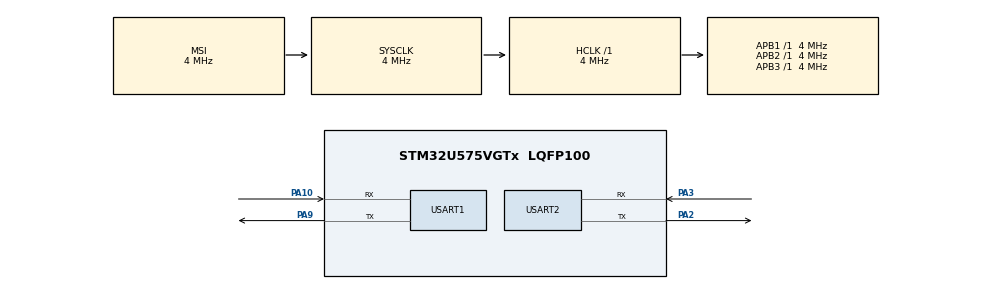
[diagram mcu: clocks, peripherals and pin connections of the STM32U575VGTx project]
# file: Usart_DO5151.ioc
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CORTEX_M33_NS.userName=CORTEX_M33
Mcu.Family=STM32U5
Mcu.Name=STM32U575VGTx
Mcu.Package=LQFP100
NVIC.PriorityGroup=NVIC_PRIORITYGROUP_4
NVIC.USART1_IRQn=true\:0\:0\:false\:false\:true\:true\:true\:true
NVIC.USART2_IRQn=true\:0\:0\:false\:false\:true\:true\:true\:true
PA10.Mode=Asynchronous
PA10.Signal=USART1_RX
PA13\ (JTMS/SWDIO).Mode=Serial_Wire
PA13\ (JTMS/SWDIO).Signal=DEBUG_JTMS-SWDIO
PA14\ (JTCK/SWCLK).Mode=Serial_Wire
PA14\ (JTCK/SWCLK).Signal=DEBUG_JTCK-SWCLK
PA2.Mode=Asynchronous
PA2.Signal=USART2_TX
PA3.Mode=Asynchronous
PA3.Signal=USART2_RX
PA9.Mode=Asynchronous
PA9.Signal=USART1_TX
ProjectManager.HeapSize=0x200
ProjectManager.StackSize=0x400
ProjectManager.TargetToolchain=MDK-ARM V5.39
RCC.ADCFreq_Value=16000000
RCC.AHBFreq_Value=4000000
RCC.APB1Freq_Value=4000000
RCC.APB1TimFreq_Value=4000000
RCC.APB2Freq_Value=4000000
RCC.APB2TimFreq_Value=4000000
RCC.APB3Freq_Value=4000000
RCC.CortexFreq_Value=4000000
RCC.EPOD_VALUE=16000000
RCC.HCLKFreq_Value=4000000
RCC.HSE_VALUE=16000000
RCC.HSI48_VALUE=48000000
RCC.HSI_VALUE=16000000
RCC.LSE_VALUE=32768
RCC.LSIDIV_VALUE=32000
RCC.MSI_VALUE=4000000
RCC.PLLSourceVirtual=RCC_PLLSOURCE_HSI
RCC.SYSCLKFreq_VALUE=4000000
RCC.USBFreq_Value=48000000
RCC.VCOOutputFreq_Value=2064000000
USART1.VirtualMode-Asynchronous=VM_ASYNC
USART2.VirtualMode-Asynchronous=VM_ASYNC
VP_LPBAMQUEUE_VS_QUEUE.Mode=QUEUEMODE
VP_LPBAM_VS_SIG1.Mode=SmartRun
VP_LPBAM_VS_SIG4.Mode=LPDMA1
VP_MEMORYMAP_VS_MEMORYMAP.Mode=CurAppReg
VP_PWR_VS_SECSignals.Mode=Security/Privilege
board=custom

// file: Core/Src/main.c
/* USER CODE BEGIN Header */
/**
  ******************************************************************************
  * @file           : main.c
  * @brief          : STM32U575VGT6 串口透传（双中断 + 环形缓冲区）
  *                   USART1 ↔ 电脑（115200）
  *                   USART2 ↔ DO5151 晶振（115200）
  * @note           : 解决轮询模式下 115200 丢字节的问题
  ******************************************************************************
  */
/* USER CODE END Header */

#include "main.h"

/* USER CODE BEGIN Includes */
#include <string.h>
/* USER CODE END Includes */

UART_HandleTypeDef huart1;
UART_HandleTypeDef huart2;

/* USER CODE BEGIN PV */

/* -------- 环形缓冲区定义 -------- */
#define RING_SIZE  256                   /* 必须是 2 的幂 */

typedef struct {
    volatile uint8_t  buf[RING_SIZE];
    volatile uint16_t head;              /* 写入位置（中断写） */
    volatile uint16_t tail;              /* 读取位置（主循环读） */
} RingBuf_t;

static RingBuf_t  rb_u1;                /* USART1 接收缓冲（电脑→单片机） */
static RingBuf_t  rb_u2;                /* USART2 接收缓冲（晶振→单片机） */

static uint8_t u1_rx_byte;              /* USART1 单字节中断接收 */
static uint8_t u2_rx_byte;              /* USART2 单字节中断接收 */

/* -------- 环形缓冲区操作 -------- */
static inline void ring_put(RingBuf_t *rb, uint8_t c)
{
    uint16_t next = (rb->head + 1) & (RING_SIZE - 1);
    if (next != rb->tail)                /* 满了就丢弃（正常不会满） */
    {
        rb->buf[rb->head] = c;
        rb->head = next;
    }
}

static inline int ring_get(RingBuf_t *rb, uint8_t *c)
{
    if (rb->head == rb->tail) return 0;  /* 空 */
    *c = rb->buf[rb->tail];
    rb->tail = (rb->tail + 1) & (RING_SIZE - 1);
    return 1;
}

/* USER CODE END PV */

void SystemClock_Config(void);
static void MX_GPIO_Init(void);
static void MX_USART1_UART_Init(void);
static void MX_USART2_UART_Init(void);

/* USER CODE BEGIN 0 */
__asm(".global __use_no_semihosting");
void _sys_exit(int x) { (void)x; }

static void U1_Send(const char *str)
{
    HAL_UART_Transmit(&huart1, (uint8_t *)str, strlen(str), HAL_MAX_DELAY);
}
/* USER CODE END 0 */

int main(void)
{
    HAL_Init();
    SystemClock_Config();
    MX_GPIO_Init();
    MX_USART1_UART_Init();
    MX_USART2_UART_Init();

    /* USER CODE BEGIN 2 */
    HAL_Delay(200);

    /* 初始化环形缓冲区 */
    rb_u1.head = rb_u1.tail = 0;
    rb_u2.head = rb_u2.tail = 0;

    /* 两个串口都用中断接收 */
    HAL_UART_Receive_IT(&huart1, &u1_rx_byte, 1);
    HAL_UART_Receive_IT(&huart2, &u2_rx_byte, 1);

    U1_Send("=== STM32 DO5151 透传就绪 ===\r\n");
    /* USER CODE END 2 */

    while (1)
    {
        /* USER CODE BEGIN 3 */
        uint8_t c;

        /* ===== 方向1：电脑 → 晶振 ===== */
        while (ring_get(&rb_u1, &c))
        {
            HAL_UART_Transmit(&huart2, &c, 1, HAL_MAX_DELAY);
        }

        /* ===== 方向2：晶振 → 电脑 ===== */
        while (ring_get(&rb_u2, &c))
        {
            HAL_UART_Transmit(&huart1, &c, 1, HAL_MAX_DELAY);
        }

        /* USER CODE END 3 */
    }
}

/* USER CODE BEGIN 4 */
void HAL_UART_RxCpltCallback(UART_HandleTypeDef *huart)
{
    if (huart->Instance == USART1)
    {
        ring_put(&rb_u1, u1_rx_byte);
        HAL_UART_Receive_IT(&huart1, &u1_rx_byte, 1);
    }
    else if (huart->Instance == USART2)
    {
        ring_put(&rb_u2, u2_rx_byte);
        HAL_UART_Receive_IT(&huart2, &u2_rx_byte, 1);
    }
}
/* USER CODE END 4 */

/* ================================================================
 *  以下是 CubeMX 生成部分，不要修改
 * ================================================================ */

void SystemClock_Config(void)
{
    RCC_OscInitTypeDef RCC_OscInitStruct = {0};
    RCC_ClkInitTypeDef RCC_ClkInitStruct = {0};

    if (HAL_PWREx_ControlVoltageScaling(PWR_REGULATOR_VOLTAGE_SCALE4) != HAL_OK)
        Error_Handler();

    RCC_OscInitStruct.OscillatorType      = RCC_OSCILLATORTYPE_MSI;
    RCC_OscInitStruct.MSIState            = RCC_MSI_ON;
    RCC_OscInitStruct.MSICalibrationValue = RCC_MSICALIBRATION_DEFAULT;
    RCC_OscInitStruct.MSIClockRange       = RCC_MSIRANGE_4;
    RCC_OscInitStruct.PLL.PLLState        = RCC_PLL_NONE;
    if (HAL_RCC_OscConfig(&RCC_OscInitStruct) != HAL_OK)
        Error_Handler();

    RCC_ClkInitStruct.ClockType      = RCC_CLOCKTYPE_HCLK  | RCC_CLOCKTYPE_SYSCLK
                                     | RCC_CLOCKTYPE_PCLK1 | RCC_CLOCKTYPE_PCLK2
                                     | RCC_CLOCKTYPE_PCLK3;
    RCC_ClkInitStruct.SYSCLKSource   = RCC_SYSCLKSOURCE_MSI;
    RCC_ClkInitStruct.AHBCLKDivider  = RCC_SYSCLK_DIV1;
    RCC_ClkInitStruct.APB1CLKDivider = RCC_HCLK_DIV1;
    RCC_ClkInitStruct.APB2CLKDivider = RCC_HCLK_DIV1;
    RCC_ClkInitStruct.APB3CLKDivider = RCC_HCLK_DIV1;

    if (HAL_RCC_ClockConfig(&RCC_ClkInitStruct, FLASH_LATENCY_0) != HAL_OK)
        Error_Handler();
}

static void MX_USART1_UART_Init(void)
{
    huart1.Instance                    = USART1;
    huart1.Init.BaudRate               = 115200;
    huart1.Init.WordLength             = UART_WORDLENGTH_8B;
    huart1.Init.StopBits               = UART_STOPBITS_1;
    huart1.Init.Parity                 = UART_PARITY_NONE;
    huart1.Init.Mode                   = UART_MODE_TX_RX;
    huart1.Init.HwFlowCtl              = UART_HWCONTROL_NONE;
    huart1.Init.OverSampling           = UART_OVERSAMPLING_16;
    huart1.Init.OneBitSampling         = UART_ONE_BIT_SAMPLE_DISABLE;
    huart1.Init.ClockPrescaler         = UART_PRESCALER_DIV1;
    huart1.AdvancedInit.AdvFeatureInit = UART_ADVFEATURE_NO_INIT;
    if (HAL_UART_Init(&huart1) != HAL_OK)                                             { Error_Handler(); }
    if (HAL_UARTEx_SetTxFifoThreshold(&huart1, UART_TXFIFO_THRESHOLD_1_8) != HAL_OK) { Error_Handler(); }
    if (HAL_UARTEx_SetRxFifoThreshold(&huart1, UART_RXFIFO_THRESHOLD_1_8) != HAL_OK) { Error_Handler(); }
    if (HAL_UARTEx_DisableFifoMode(&huart1) != HAL_OK)                               { Error_Handler(); }
}

static void MX_USART2_UART_Init(void)
{
    huart2.Instance                    = USART2;
    huart2.Init.BaudRate               = 115200;
    huart2.Init.WordLength             = UART_WORDLENGTH_8B;
    huart2.Init.StopBits               = UART_STOPBITS_1;
    huart2.Init.Parity                 = UART_PARITY_NONE;
    huart2.Init.Mode                   = UART_MODE_TX_RX;
    huart2.Init.HwFlowCtl              = UART_HWCONTROL_NONE;
    huart2.Init.OverSampling           = UART_OVERSAMPLING_16;
    huart2.Init.OneBitSampling         = UART_ONE_BIT_SAMPLE_DISABLE;
    huart2.Init.ClockPrescaler         = UART_PRESCALER_DIV1;
    huart2.AdvancedInit.AdvFeatureInit = UART_ADVFEATURE_NO_INIT;
    if (HAL_UART_Init(&huart2) != HAL_OK)                                             { Error_Handler(); }
    if (HAL_UARTEx_SetTxFifoThreshold(&huart2, UART_TXFIFO_THRESHOLD_1_8) != HAL_OK) { Error_Handler(); }
    if (HAL_UARTEx_SetRxFifoThreshold(&huart2, UART_RXFIFO_THRESHOLD_1_8) != HAL_OK) { Error_Handler(); }
    if (HAL_UARTEx_DisableFifoMode(&huart2) != HAL_OK)                               { Error_Handler(); }
}

static void MX_GPIO_Init(void)
{
    __HAL_RCC_GPIOA_CLK_ENABLE();
}

void Error_Handler(void)
{
    __disable_irq();
    while (1) {}
}
